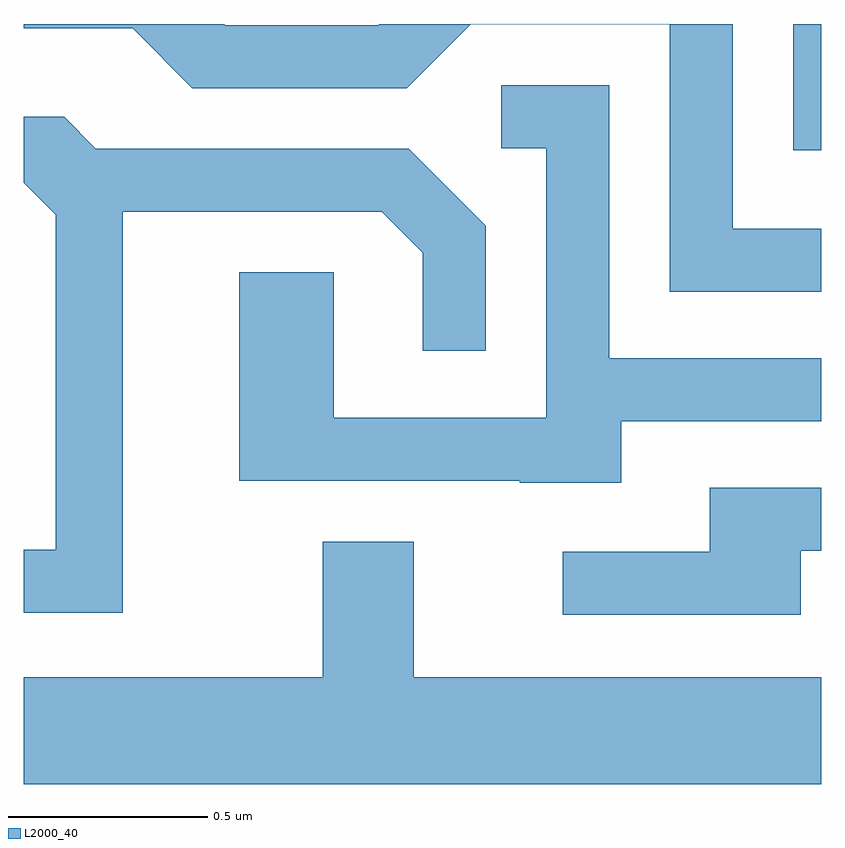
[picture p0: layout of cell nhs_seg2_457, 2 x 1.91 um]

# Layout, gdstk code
import gdstk
lib = gdstk.Library(unit=1e-6, precision=1e-09)
def R(c, l, rs):  # rectangles x0, y0, x1, y1
    for r in rs: c.add(gdstk.rectangle(r[:2], r[2:], *l))
def P(c, l, *ps):  # polygons
    for p in ps: c.add(gdstk.Polygon(p, *l))
L2000_40 = (2000, 40)

nhs_seg2_457 = lib.new_cell('nhs_seg2_457')
R(nhs_seg2_457, L2000_40, [(190.541,1025.486,190.611,1025.802)])
P(nhs_seg2_457, L2000_40, [(190.611,1025.289),(190.389,1025.289),(190.389,1025.802),(189.502,1025.802),(189.499,1025.799),(189.117,1025.799),(189.114,1025.802),(188.611,1025.802),(188.611,1025.791),(188.884,1025.791),(189.034,1025.641),(189.572,1025.641),(189.732,1025.801),(190.231,1025.801),(190.231,1025.131),(190.611,1025.131)],
  [(190.109,1024.806),(190.611,1024.806),(190.611,1024.964),(190.079,1024.964),(190.079,1025.649),(189.808,1025.649),(189.808,1025.491),(189.921,1025.491),(189.921,1024.814),(189.389,1024.814),(189.389,1025.179),(189.151,1025.179),(189.151,1024.656),(189.855,1024.656),(189.855,1024.651),(190.109,1024.651)],
  [(188.859,1025.331),(189.509,1025.331),(189.611,1025.228),(189.611,1024.983),(189.769,1024.983),(189.769,1025.296),(189.577,1025.489),(188.792,1025.489),(188.712,1025.569),(188.611,1025.569),(188.611,1025.404),(188.691,1025.324),(188.691,1024.484),(188.611,1024.484),(188.611,1024.326),(188.859,1024.326)],
  [(190.559,1024.481),(190.611,1024.481),(190.611,1024.639),(190.331,1024.639),(190.331,1024.479),(189.963,1024.479),(189.963,1024.321),(190.559,1024.321)],
  [(190.611,1024.164),(189.589,1024.164),(189.589,1024.504),(189.361,1024.504),(189.361,1024.164),(188.611,1024.164),(188.611,1023.896),(190.611,1023.896)])

lib.write_gds('nhs_seg2_457.gds')
